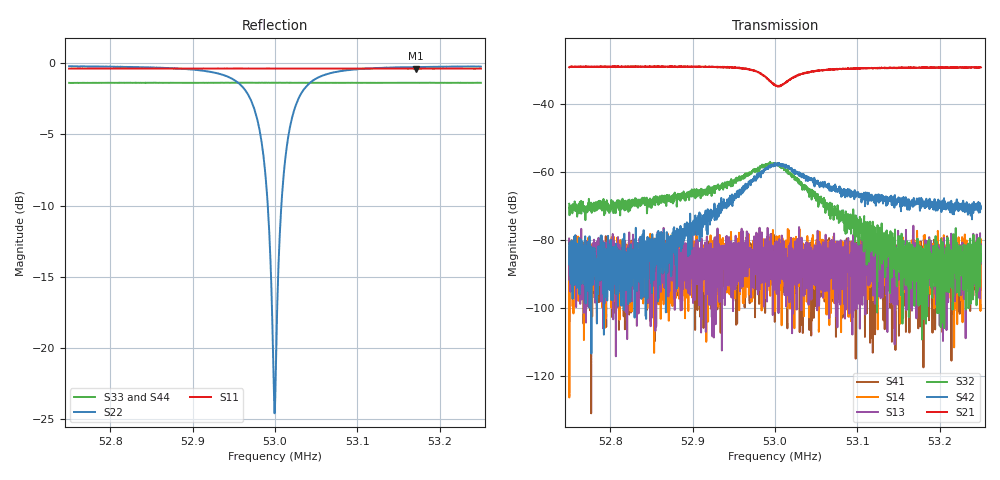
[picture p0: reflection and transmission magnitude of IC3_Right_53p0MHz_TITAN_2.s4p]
#  HZ  S  DB  R  50.00
! Rohde & Schwarz Vector Network Analyzer
! Rohde-Schwarz,ZNB8-4Port,1311601044102961,2.82
! Created: UTC 2/8/2019, 3:12:06 PM
! freq[Hz]  db:S11  ang:S11  db:S12  ang:S12  db:S13  ang:S13  db:S14  ang:S14
!  db:S21  ang:S21  db:S22  ang:S22  db:S23  ang:S23  db:S24  ang:S24
!  db:S31  ang:S31  db:S32  ang:S32  db:S33  ang:S33  db:S34  ang:S34
!  db:S41  ang:S41  db:S42  ang:S42  db:S43  ang:S43  db:S44  ang:S44
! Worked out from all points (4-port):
!   2001 points, 52.75 MHz to 53.25 MHz, reference 50 ohm
!   strongest paths, dB at 52.75 MHz, 52.875 MHz, 53 MHz, 53.125 MHz, 53.25 MHz:
!     S21: -29.3, -29.0, -34.6, -29.5, -29.4
!     S42: -87.1, -88.6, -57.7, -67.2, -70.8
!     S32: -69.3, -67.4, -57.7, -76.4, -81.7
!     S13: -79.5, -84.4, -80.7, -80.7, -81.2
!     S14: -82.1, -82.5, -85.7, -87.4, -84.4
!     S41: -89.9, -83.4, -90.0, -92.2, -94.5
!   lowest |S11| = -0.4 dB at 53.1713 MHz (marker M1), VSWR 45.39, Z = 1.23 + j17.3 ohm
!   |S11| at or under -10 dB: nowhere
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5.275e7  -0.38 150.6  -29.19 132.8  -79.54 -114.0  -82.06 151.2
         -29.32 132.5  -0.21 -64.1  -69.66 -83.3  -84.29 -106.4
         -83.50 76.2  -69.34 -79.3  -1.38 72.0  -84.52 -120.4
         -89.94 -153.3  -87.12 166.0  -87.20 -2.6  -1.40 78.8
5.288525e7  -0.37 147.7  -29.05 124.8  -93.12 -75.2  -83.83 -67.4
            -29.15 124.9  -0.38 -76.9  -65.86 -97.7  -100.50 -151.2
            -96.63 -82.2  -68.23 -98.8  -1.37 70.3  -86.08 170.0
            -83.69 -61.2  -75.83 82.0  -87.32 77.3  -1.39 77.1
5.296525e7  -0.37 146.2  -29.71 111.4  -90.15 25.9  -80.89 154.2
            -29.79 111.0  -2.01 -102.7  -61.33 -123.5  -64.31 53.4
            -90.60 -126.3  -61.05 -117.8  -1.36 69.3  -91.52 -36.5
            -84.66 -126.0  -63.82 50.2  -88.76 -19.5  -1.39 76.2
5.29995e7  -0.37 145.4  -34.60 113.7  -83.85 66.6  -81.25 -95.6
           -34.38 113.5  -24.61 -70.5  -57.66 -177.3  -57.62 -1.3
           -83.16 56.8  -57.82 -176.6  -1.36 68.9  -95.67 -73.7
           -85.49 157.9  -57.45 0.3  -85.92 -137.1  -1.39 75.7
5.30285e7  -0.37 144.8  -31.58 139.5  -92.66 -142.9  -85.61 -169.7
           -31.48 138.7  -2.48 -35.1  -62.69 137.5  -61.01 -49.3
           -83.90 -75.1  -62.05 135.2  -1.37 68.6  -92.71 69.0
           -90.35 167.3  -60.39 -53.4  -95.38 10.2  -1.39 75.4
5.317125e7  -0.38 141.9  -29.43 124.1  -81.82 73.9  -85.95 -32.9
            -29.47 124.3  -0.26 -72.3  -88.29 108.7  -70.14 -87.5
            -91.84 -100.9  -83.15 156.0  -1.37 66.8  -85.77 -25.0
            -84.02 12.7  -69.53 -97.4  -105.34 24.0  -1.39 73.7
5.325e7  -0.37 140.3  -29.35 120.1  -81.23 -78.4  -84.42 154.4
         -29.37 120.0  -0.23 -78.6  -89.87 -150.1  -71.75 -90.5
         -86.45 64.0  -81.68 -163.7  -1.37 65.9  -87.37 -31.2
         -94.45 -95.5  -70.84 -97.4  -92.36 -97.5  -1.39 72.7
